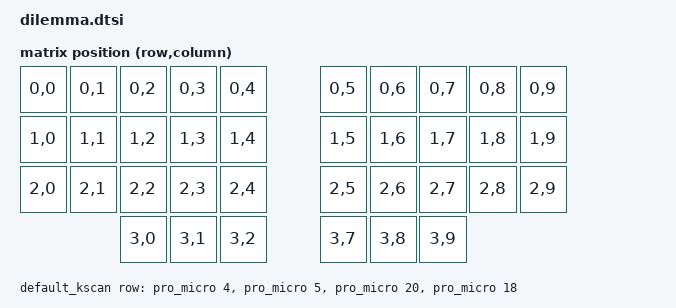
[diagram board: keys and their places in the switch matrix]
/*
 * Copyright (c) 2021 The ZMK Contributors
 *
 * SPDX-License-Identifier: MIT
 */

#include <dt-bindings/zmk/matrix_transform.h>
#include <dt-bindings/zmk/input_transform.h>
#include <input/processors.dtsi>

/ {
    chosen {
        zephyr,display = &oled;
        zmk,kscan = &default_kscan;
        zmk,matrix_transform = &default_transform;
    };

    default_transform: keymap_transform_0 {
        compatible = "zmk,matrix-transform";
        columns = <10>;
        rows = <4>;
        map = <
        RC(0,0) RC(0,1) RC(0,2) RC(0,3) RC(0,4)   RC(0,5) RC(0,6) RC(0,7) RC(0,8) RC(0,9)
        RC(1,0) RC(1,1) RC(1,2) RC(1,3) RC(1,4)   RC(1,5) RC(1,6) RC(1,7) RC(1,8) RC(1,9)
        RC(2,0) RC(2,1) RC(2,2) RC(2,3) RC(2,4)   RC(2,5) RC(2,6) RC(2,7) RC(2,8) RC(2,9)
                        RC(3,0) RC(3,1) RC(3,2)   RC(3,7) RC(3,8) RC(3,9)
        >;
    };

    default_kscan: kscan_0 {
        compatible = "zmk,kscan-gpio-matrix";
        diode-direction = "row2col";
        wakeup-source;
        row-gpios
            = <&pro_micro 4 GPIO_ACTIVE_HIGH>
            , <&pro_micro 5 GPIO_ACTIVE_HIGH>
            , <&pro_micro 20 GPIO_ACTIVE_HIGH>
            , <&pro_micro 18 GPIO_ACTIVE_HIGH>
            ;
    };

    split_inputs {
        #address-cells = <1>;
        #size-cells = <0>;

        glidepoint_split: glidepoint_split@0 {
            compatible = "zmk,input-split";
            reg = <0>;
        };
    };

    glidepoint_listener: glidepoint_listener {
        compatible = "zmk,input-listener";
        status = "disabled";
        device = <&glidepoint>;
    };
};

&pro_micro_i2c {
    status = "okay";

    oled: ssd1306@3c {
        compatible = "solomon,ssd1306fb";
        status = "disabled";
        reg = <0x3c>;
        width = <128>;
        height = <32>;
        segment-offset = <0>;
        page-offset = <0>;
        display-offset = <0>;
        multiplex-ratio = <31>;
        segment-remap;
        com-invdir;
        com-sequential;
        inversion-on;
        prechargep = <0x22>;
    };

    glidepoint: glidepoint@2a {
        compatible = "cirque,pinnacle";
        reg = <0x2a>;
        status = "disabled";
        dr-gpios = <&pro_micro 1 (GPIO_ACTIVE_HIGH)>;

        sensitivity = "4x";
        sleep; 
        no-taps;
    };
};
